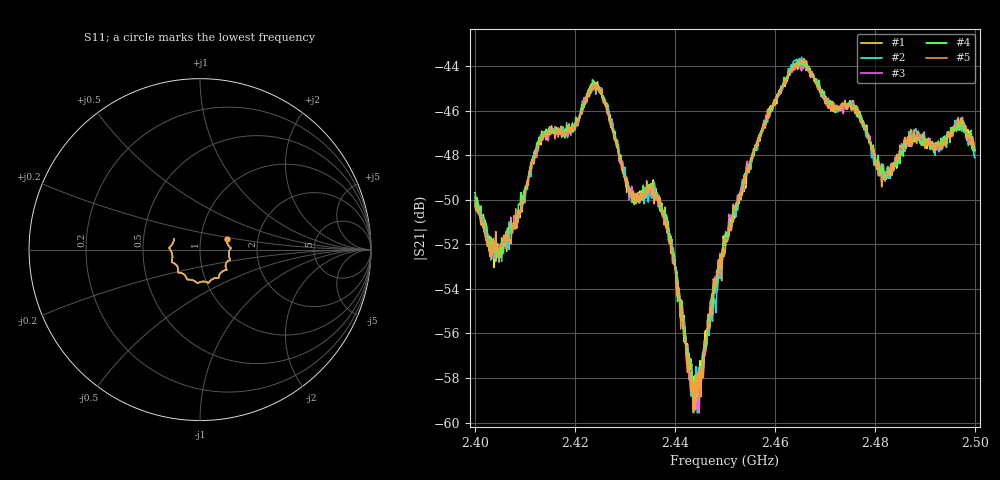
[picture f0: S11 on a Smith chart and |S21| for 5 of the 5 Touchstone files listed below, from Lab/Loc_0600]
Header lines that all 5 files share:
# Hz S RI R
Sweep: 2.4 GHz to 2.5 GHz
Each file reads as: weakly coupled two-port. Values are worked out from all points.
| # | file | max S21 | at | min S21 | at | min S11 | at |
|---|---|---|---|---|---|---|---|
| 1 | Lab_139_1Ch1.s2p | -43.82 dB | 2.465 GHz | -59.2 dB | 2.444 GHz | -15.8 dB | 2.4993 GHz |
| 2 | Lab_139_2Ch1.s2p | -43.61 dB | 2.4653 GHz | -59.6 dB | 2.4445 GHz | -15.8 dB | 2.4993 GHz |
| 3 | Lab_139_5Ch1.s2p | -43.73 dB | 2.466 GHz | -59.6 dB | 2.4448 GHz | -15.8 dB | 2.4993 GHz |
| 4 | Lab_139_6Ch1.s2p | -43.71 dB | 2.4657 GHz | -59.1 dB | 2.4437 GHz | -15.8 dB | 2.4992 GHz |
| 5 | Lab_139_8Ch1.s2p | -43.66 dB | 2.4658 GHz | -59.6 dB | 2.4437 GHz | -15.8 dB | 2.4993 GHz |
